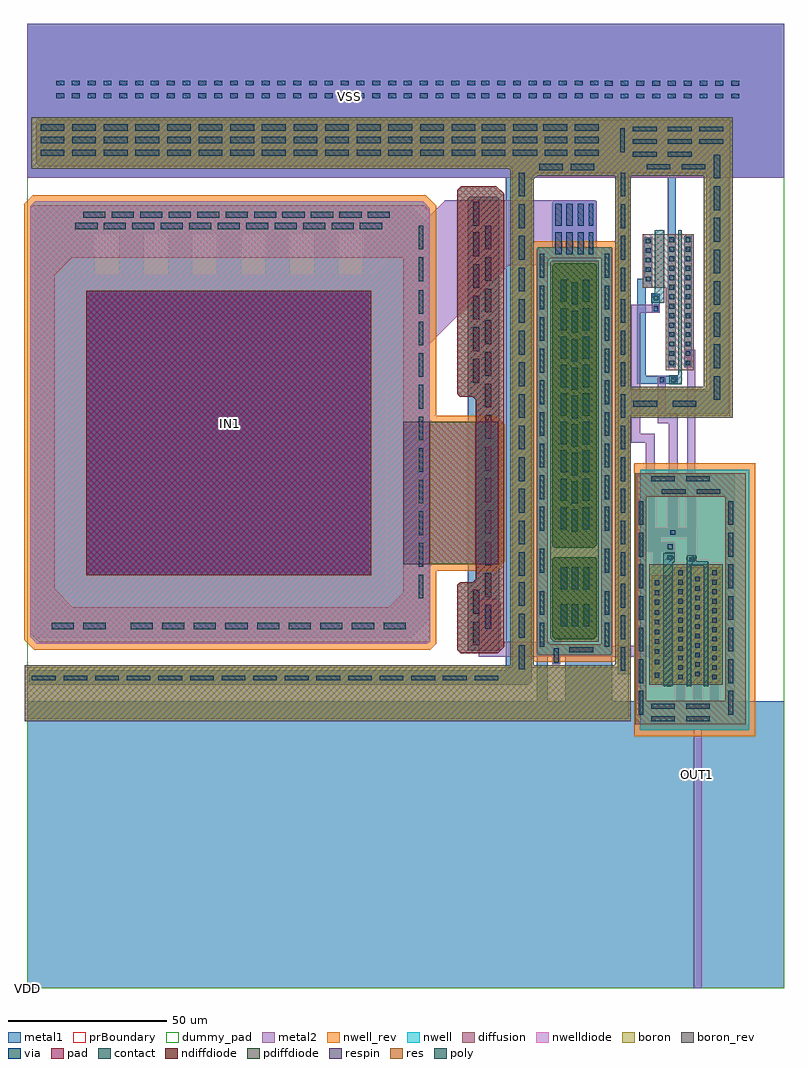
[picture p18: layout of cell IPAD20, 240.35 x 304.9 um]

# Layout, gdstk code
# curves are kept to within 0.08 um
import gdstk
lib = gdstk.Library(unit=1e-6, precision=1e-09)
def R(c, l, rs):  # rectangles x0, y0, x1, y1
    for r in rs: c.add(gdstk.rectangle(r[:2], r[2:], *l))
def A(c, l, x, y, w, h, nx, ny, dx, dy):  # array of equal rectangles
    R(c, l, [(x+i*dx, y+j*dy, x+i*dx+w, y+j*dy+h) for i in range(nx) for j in range(ny)])
def P(c, l, *ps):  # polygons
    for p in ps: c.add(gdstk.Polygon(p, *l))
nwell = (1, 0)
diffusion = (2, 0)
nwell_rev = (3, 0)
poly = (4, 0)
boron = (5, 0)
boron_rev = (6, 0)
contact = (7, 0)
metal1 = (8, 0)
via = (9, 0)
metal2 = (10, 0)
pad = (11, 0)
prBoundary = (28, 0)
res = (35, 0)
respin = (36, 0)
pdiffdiode = (37, 0)
nwelldiode = (38, 0)
ndiffdiode = (39, 0)
dummy_pad = (40, 0)

ipad20 = lib.new_cell('IPAD20')
R(ipad20, nwell, [(194,81.7,228.35,163.95)])
P(ipad20, nwell, [(161.5,105.25),(161.15,105.6),(161.15,233.95),(161.45,234.25),(185,234.25),(185.15,234.1),(185.15,105.6),(184.8,105.25)],
  [(3.15,108.95),(1.05,111.05),(1.05,247.25),(2.6,248.8),(125.25,248.8),(127.4,246.65),(127.4,179.652),(128.002,179.05),(147.45,179.05),(149.1,177.4),(149.1,135.7),(147.45,134.05),(128.058,134.05),(127.45,133.442),(127.45,109.75),(126.65,108.95)])
P(ipad20, diffusion, [(192.4,83.4),(192.4,162.8),(220.8,162.8),(220.8,155.3),(195.9,155.3),(195.9,90.9),(220.8,90.9),(220.8,162.8),(227.3,162.8),(227.3,83.4)],
  [(3.95,109.3),(1.05,112.2),(1.05,246.563),(2.037,247.55),(119,247.55),(119,231),(14.214,231),(8.7,225.486),(8.7,126.204),(14.404,120.5),(114.449,120.5),(119,125.051),(119,247.55),(125.563,247.55),(127.35,245.763),(127.35,109.952),(126.698,109.3)],
  [(137.101,105.95),(136.1,106.951),(136.1,127.549),(136.951,128.4),(140.987,128.4),(141.85,129.263),(141.85,185.999),(140.849,187),(136.906,187),(136,187.906),(136,252.285),(137.365,253.65),(148.4,253.65),(150.9,251.15),(150.9,108.002),(148.848,105.95)],
  [(162.101,105.25),(161.15,106.201),(161.15,233.344),(162.056,234.25),(181.65,234.25),(181.65,230.75),(165.536,230.75),(164.65,229.864),(164.65,109.515),(165.415,108.75),(181.395,108.75),(181.65,109.005),(181.65,234.25),(184.95,234.25),(185.15,234.05),(185.15,106.052),(184.348,105.25)],
  [(0,85.15),(0,101.45),(153.45,101.45),(153.45,259.248),(152.848,259.85),(3.814,259.85),(2.85,260.814),(2.85,273.45),(4.05,274.65),(186.75,274.65),(186.75,257.65),(160.704,257.65),(159.55,256.496),(159.552,101.45),(186.295,101.45),(186.75,101.905),(186.75,274.65),(188.9,274.65),(190.25,273.3),(190.25,85.15)],
  [(197.5,96.6),(197.5,130.6),(204.7,130.6),(204.7,133.1),(219.2,133.1),(219.2,96.6)],
  [(167.105,110.25),(166.15,111.205),(166.15,135.6),(166.8,136.25),(179.65,136.25),(180.15,135.75),(180.15,111.15),(179.25,110.25)],
  [(166.752,139.25),(166.15,139.852),(166.15,228.35),(167.05,229.25),(179.448,229.25),(180.15,228.548),(180.15,140.156),(179.244,139.25)],
  [(201.95,195.4),(201.95,221.4),(194.75,221.4),(194.75,238.4),(210.8,238.4),(210.8,195.4)],
  [(190.25,181.05),(190.25,189.35),(214.75,189.35),(214.75,257.65),(182.35,257.65),(182.35,274.65),(222.45,274.65),(222.45,181.05)])
R(ipad20, nwell_rev, [(192,79.7,230.35,165.95)])
P(ipad20, nwell_rev, [(160.672,103.25),(159.15,104.772),(159.15,234.778),(160.622,236.25),(185.828,236.25),(187.15,234.928),(187.15,104.772),(185.628,103.25)],
  [(2.322,106.95),(-0.95,110.222),(-0.95,248.078),(1.772,250.8),(126.078,250.8),(129.4,247.478),(129.4,181.05),(148.278,181.05),(151.1,178.228),(151.1,134.872),(148.278,132.05),(129.45,132.05),(129.45,108.922),(127.478,106.95)])
P(ipad20, poly, [(208.6,95.4),(208.6,136.95),(211.7,136.95),(211.7,135),(215.5,135),(215.5,95.4),(214,95.4),(214,133.6),(210.1,133.6),(210.1,95.4)],
  [(201.2,95.4),(201.2,137.6),(204.9,137.6),(204.9,134.7),(204.2,134.7),(204.2,95.4)],
  [(197.45,216.8),(197.45,219.7),(198.45,219.7),(198.45,239.65),(201.45,239.65),(201.45,216.8)],
  [(203.1,190.95),(203.1,193.85),(205.9,193.85),(205.9,239.65),(207.1,239.65),(207.1,190.95)])
R(ipad20, boron, [(196.8,95.9,220,133.95)])
P(ipad20, boron, [(-0.7,84.45),(-0.7,102.15),(152.75,102.15),(152.75,258.6),(152.2,259.15),(1.4,259.15),(1.4,275.45),(186.05,275.45),(186.05,256.95),(161.451,256.95),(160.25,255.749),(160.25,102.15),(185.7,102.15),(186.05,102.5),(186.05,275.45),(190.95,275.45),(190.95,84.45)],
  [(166.6,109.55),(165.45,110.7),(165.45,229.5),(165.9,229.95),(180.85,229.95),(180.85,109.55)],
  [(189.55,180.35),(189.55,190.1),(214.05,190.1),(214.05,256.95),(179.9,256.95),(179.9,275.45),(223.2,275.45),(223.2,180.35)])
R(ipad20, boron_rev, [(196.8,95.9,220,133.95)])
P(ipad20, boron_rev, [(-0.7,84.45),(-0.7,102.15),(152.75,102.15),(152.75,258.6),(152.2,259.15),(1.4,259.15),(1.4,275.45),(186.05,275.45),(186.05,256.95),(161.451,256.95),(160.25,255.749),(160.25,102.15),(185.7,102.15),(186.05,102.5),(186.05,275.45),(190.95,275.45),(190.95,84.45)],
  [(166.6,109.55),(165.45,110.7),(165.45,229.5),(165.9,229.95),(180.85,229.95),(180.85,109.55)],
  [(189.55,180.35),(189.55,190.1),(214.05,190.1),(214.05,256.95),(179.9,256.95),(179.9,275.45),(223.2,275.45),(223.2,180.35)])
A(ipad20, contact, 193.4, 86.45, 1.5, 7.5, 1, 7, 0, 10)
A(ipad20, contact, 221.8, 86.45, 1.5, 7.5, 1, 7, 0, 10)
A(ipad20, contact, 1.55, 97.3, 7.5, 1.5, 15, 1, 10, 0)
A(ipad20, contact, 205.9, 97.6, 1.5, 1.5, 1, 12, 0, 3)
A(ipad20, contact, 216.7, 97.6, 1.5, 1.5, 1, 12, 0, 3)
A(ipad20, contact, 187.75, 100.35, 1.5, 7.5, 1, 16, 0, 10)
A(ipad20, contact, 155.45, 100.85, 2, 7.5, 1, 3, 0, 10)
A(ipad20, contact, 211.3, 110.6, 1.5, 1.5, 1, 7, 0, 3)
A(ipad20, contact, 32.75, 113.55, 7, 2, 9, 1, 10, 0)
A(ipad20, contact, 168.85, 114.4, 2, 7, 3, 2, 3.5, 11.75)
A(ipad20, contact, 123.85, 123.25, 1.5, 7.5, 1, 10, 0, 10)
A(ipad20, contact, 144.85, 123.65, 2, 7.5, 1, 12, 0, 10)
A(ipad20, contact, 155.45, 130.35, 2, 7.5, 1, 13, 0, 10)
A(ipad20, contact, 172.25, 144.25, 2, 7, 1, 9, 0, 9)
A(ipad20, contact, 162.15, 144.65, 1.5, 7.5, 1, 9, 0, 10)
A(ipad20, contact, 182.65, 144.65, 1.5, 7.5, 1, 9, 0, 10)
A(ipad20, contact, 168.75, 145.05, 2, 7, 1, 9, 0, 9)
A(ipad20, contact, 175.75, 145.05, 2, 7, 1, 9, 0, 9)
A(ipad20, contact, 217.25, 186.05, 2, 7.5, 1, 8, 0, 10)
A(ipad20, contact, 141.05, 191.45, 2, 7.5, 1, 5, 0, 10)
A(ipad20, contact, 203.15, 196.9, 1.5, 1.5, 1, 14, 0, 3)
A(ipad20, contact, 208.3, 202.9, 1.5, 1.5, 1, 12, 0, 3)
A(ipad20, contact, 195.75, 223.5, 1.5, 1.5, 1, 5, 0, 3)
A(ipad20, contact, 15.3, 240.05, 7, 2, 11, 1, 9, 0)
A(ipad20, contact, 17.8, 243.55, 7, 2, 10, 1, 9, 0)
A(ipad20, contact, 191.6, 262.95, 7.5, 1.5, 1, 3, 0, 4)
A(ipad20, contact, 202.65, 262.95, 7.5, 1.5, 1, 3, 0, 4)
A(ipad20, contact, 4.3, 263.15, 7.5, 2, 14, 3, 10, 4)
A(ipad20, contact, 143.8, 263.15, 7.5, 2, 1, 3, 0, 4)
A(ipad20, contact, 173.3, 263.15, 7.5, 2, 1, 3, 0, 4)
R(ipad20, contact, [(197.4,84.4,204.9,85.9), (208.45,84.4,215.95,85.9), (197.4,88.4,204.9,89.9), (208.45,88.4,215.95,89.9), (198.5,98.2,200,99.7), (211.3,98.6,212.8,100.1), (211.3,101.6,212.8,103.1), (198.5,102.4,200,103.9), (198.5,105.65,200,107.15), (171.55,106.25,179.05,107.75), (162.15,108,163.65,115.5), (182.65,108,184.15,115.5), (141.05,108.4,143.05,115.9), (198.5,108.85,200,110.35), (198.5,111.85,200,113.35), (7.85,113.55,14.85,115.55), (17.85,113.55,24.85,115.55), (198.5,115.05,200,116.55), (162.15,118,163.65,125.5), (182.65,118,184.15,125.5), (198.5,118.05,200,119.55), (141.05,118.45,143.05,125.95), (198.5,121.25,200,122.75), (198.5,124.25,200,125.75), (198.5,127.45,200,128.95), (162.15,131.4,163.65,138.9), (182.65,131.4,184.15,138.9), (209.5,134.75,211,136.25), (202.7,135.4,204.2,136.9), (200.75,156.3,208.25,157.8), (211.8,156.3,219.3,157.8), (197.4,160.3,204.9,161.8), (208.45,160.3,215.95,161.8), (191.75,183.8,199.25,185.8), (204.2,183.8,211.7,185.8), (203.8,191.65,205.3,193.15), (208.3,196.9,209.8,198.4), (198.15,217.5,199.65,219), (123.85,223.6,125.35,231.1), (123.85,233.6,125.35,241.1), (141.05,241.15,143.05,248.65), (107.8,243.55,114.7,245.55), (161.95,258.65,169.45,260.65), (171.95,258.65,179.45,260.65), (196,258.95,203.5,260.45), (207.05,258.95,214.55,260.45), (153.65,263.15,161.3,265.15), (163.8,263.15,170.8,265.15), (187.6,264.35,189.1,271.85), (212.65,266.95,220.15,268.45), (153.65,267.15,161.3,269.15), (163.8,267.15,170.8,269.15), (212.65,270.95,220.15,272.45), (153.8,271.15,161.3,273.15), (163.3,271.15,170.8,273.15)])
R(ipad20, metal1, [(0,0,239.4,90.7), (0,0,239.4,90.7), (192.9,85.95,195.4,162.3), (205.4,87.6,207.9,132.6), (216.2,87.6,218.7,132.6), (210.8,98.1,213.3,131), (202.2,134.9,204.7,140.8), (202.65,196.4,205.15,284.85), (207.8,196.4,210.3,237.9), (197.65,213.6,200.15,219.5), (0,256.2,239.4,304.9), (0,256.2,239.4,304.9)])
P(ipad20, metal1, [(0.75,95.85),(0.75,100.5),(151.35,100.5),(151.35,256.2),(0,256.2),(0,304.9),(239.4,304.9),(239.4,256.2),(190.95,256.2),(190.95,99.3),(190.85,99.2),(186.85,99.2),(186.75,99.3),(186.75,255.344),(185.894,256.2),(160.252,256.2),(159.55,255.498),(159.55,97.066),(158.334,95.85)],
  [(2.45,110.8),(1.75,111.5),(1.75,245.949),(3.351,247.55),(29.2,247.55),(29.2,238.55),(21.5,238.55),(21.5,225.55),(29.2,225.55),(29.2,247.55),(44.6,247.55),(44.6,238.55),(36.9,238.55),(36.9,225.55),(44.6,225.55),(44.6,247.55),(60,247.55),(60,238.55),(52.3,238.55),(52.3,225.55),(60,225.55),(60,247.55),(75.4,247.55),(75.4,238.55),(67.7,238.55),(67.7,225.55),(75.4,225.55),(75.4,247.55),(90.8,247.55),(90.8,238.55),(83.1,238.55),(83.1,225.55),(90.8,225.55),(90.8,247.55),(106.2,247.55),(106.2,238.55),(98.5,238.55),(98.5,225.55),(106.2,225.55),(106.2,247.55),(121.25,247.55),(127.4,241.4),(127.4,214),(127.3,214),(127.35,116.437),(121.713,110.8)],
  [(139.35,106.65),(139.35,249.685),(139.915,250.25),(148.548,250.25),(149.35,249.448),(149.35,106.65)],
  [(221.3,85.95),(221.3,155.8),(194.7,155.8),(194.7,162.3),(223.8,162.3),(223.8,85.95)],
  [(0,0),(0,90.7),(160.689,90.7),(161.15,91.161),(161.15,233.85),(161.55,234.25),(164.197,234.25),(164.65,233.797),(164.65,91.05),(165,90.7),(169.7,90.7),(170.15,91.15),(170.15,108.248),(170.652,108.75),(181.395,108.75),(181.65,109.005),(181.65,233.847),(182.053,234.25),(184.8,234.25),(185.15,233.9),(185.15,91.202),(185.652,90.7),(231,90.7),(231,0)],
  [(198,97.7),(198,145.3),(211.5,145.3),(211.5,134.25),(209,134.25),(209,142.8),(200.5,142.8),(200.5,97.7)],
  [(166.15,102.35),(166.15,135.394),(166.157,135.412),(166.237,135.531),(166.956,136.25),(179.348,136.25),(180.15,135.448),(180.15,111.27),(179.13,110.25),(169.601,110.25),(168.65,109.299),(168.65,102.35)],
  [(192.95,191.15),(192.95,224.35),(195.25,224.35),(195.25,237.5),(197.75,237.5),(197.75,221.4),(195.75,221.4),(195.75,193.65),(205.8,193.65),(205.8,191.15)],
  [(190.75,181.55),(190.75,188.85),(215.85,188.85),(215.85,281.4),(221.95,281.4),(221.95,181.55)],
  [(166.75,139.25),(166.15,139.85),(166.15,248.498),(166.802,249.15),(179.747,249.15),(180.115,248.782),(180.15,248.697),(180.15,140.156),(179.244,139.25)])
A(ipad20, via, 182.7, 281.4, 2.5, 1.5, 9, 2, 5, 4)
A(ipad20, via, 9.2, 281.45, 2.5, 1.5, 27, 2, 5, 4)
A(ipad20, via, 143.7, 281.45, 2.5, 1.5, 4, 2, 5, 4)
A(ipad20, via, 163.2, 281.45, 2.5, 1.5, 4, 2, 5, 4)
R(ipad20, via, [(166.65,102.85,168.15,107.5), (211.3,104.6,212.8,106.1), (211.3,107.6,212.8,109.1), (144.85,113.65,146.85,121.15), (18.8,130.55,108.8,220.55), (202.7,138.8,204.2,140.3), (203.45,143.3,204.95,144.8), (200.05,191.65,201.55,193.15), (208.3,199.9,209.8,201.4), (198.15,214.1,199.65,215.6), (167.05,232.05,169.05,239.05), (170.6,232.05,172.6,239.05), (174.1,232.05,176.1,239.05), (177.6,232.05,179.1,239.05), (167.05,241.05,169.05,248.05), (170.6,241.05,172.6,248.05), (174.1,241.05,176.1,248.05), (177.6,241.05,179.1,248.05)])
R(ipad20, metal2, [(210.85,0,213.35,14.7), (0,256.2,239.4,304.9), (0,256.2,239.4,304.9)])
P(ipad20, metal2, [(202.9,142.8),(202.9,178.6),(199.55,178.6),(199.55,193.65),(202.05,193.65),(202.05,181.55),(205.8,181.55),(205.8,142.8)],
  [(210.85,14.7),(210.85,104.1),(208.8,104.1),(208.8,199.4),(207.8,199.4),(207.8,201.9),(211.3,201.9),(211.3,109.6),(213.35,109.6),(213.35,14.7)],
  [(14.751,125.55),(13.8,126.501),(13.8,224.7),(14.65,225.55),(108.749,225.55),(132.15,248.951),(132.15,249.15),(179.547,249.15),(180.2,248.497),(180.2,229.8),(179,228.6),(152.298,228.6),(113.8,190.118),(113.8,126.352),(112.998,125.55)],
  [(166.15,102.35),(166.15,104.4),(165.7,104.85),(142.8,104.85),(142.8,121.75),(144.1,123.05),(148.5,123.05),(149.8,121.75),(149.8,109.55),(168.05,109.55),(169.202,108.3),(202,108.3),(202,138.1),(195.75,138.1),(195.75,172.45),(191.15,172.45),(191.15,216.1),(200.15,216.1),(200.15,213.6),(193.9,213.6),(193.9,175.35),(198.5,175.35),(198.5,140.8),(204.7,140.8),(204.7,104.75),(169,104.75),(168.65,104.4),(168.65,102.35)])
R(ipad20, pad, [(18.8,130.55,108.8,220.55)])
R(ipad20, prBoundary, [(0,0,239.4,304.9)])
R(ipad20, res, [(127.35,134.05,141.85,179.05)])
R(ipad20, respin, [(119,134.05,127.35,179.05), (141.85,134.05,149.1,179.05)])
P(ipad20, pdiffdiode, [(167.105,110.25),(166.15,111.205),(166.15,135.6),(166.8,136.25),(179.65,136.25),(180.15,135.75),(180.15,111.15),(179.25,110.25)],
  [(166.752,139.25),(166.15,139.852),(166.15,228.35),(167.05,229.25),(179.448,229.25),(180.15,228.548),(180.15,140.156),(179.244,139.25)])
P(ipad20, nwelldiode, [(3.15,108.95),(1.05,111.05),(1.05,247.25),(2.6,248.8),(125.25,248.8),(127.4,246.65),(127.4,179.652),(128.002,179.05),(147.45,179.05),(149.1,177.4),(149.1,135.7),(147.45,134.05),(128.058,134.05),(127.45,133.442),(127.45,109.75),(126.65,108.95)])
P(ipad20, ndiffdiode, [(137.101,105.95),(136.1,106.951),(136.1,127.549),(136.951,128.4),(140.987,128.4),(141.85,129.263),(141.85,185.999),(140.849,187),(136.906,187),(136,187.906),(136,252.285),(137.365,253.65),(148.4,253.65),(150.9,251.15),(150.9,108.002),(148.848,105.95)])
R(ipad20, dummy_pad, [(0,0,239.4,304.9)])
ipad20.add(gdstk.Label('VSS', (102,281.801), layer=10, texttype=7))
ipad20.add(gdstk.Label('IN1', (64.45,178.5), layer=10, texttype=7))
ipad20.add(gdstk.Label('OUT1', (211.95,67.55), layer=10, texttype=7))
ipad20.add(gdstk.Label('VDD', (0.001,0.001), layer=8, texttype=7))

lib.write_gds('IPAD20.gds')
